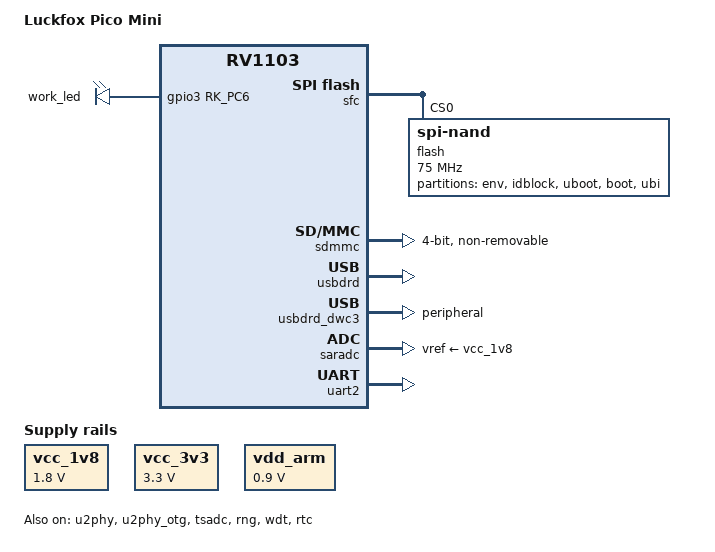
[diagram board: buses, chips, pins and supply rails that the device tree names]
// SPDX-License-Identifier: (GPL-2.0+ OR MIT)
/* Luckfox Pico Mini: RV1103, 64MB DDR3L, W25N01KVZEIR 128MB SPI NAND. */

/dts-v1/;

#include <dt-bindings/gpio/gpio.h>
#include <dt-bindings/pinctrl/rockchip.h>
#include "rv1103.dtsi"

/ {
	model = "Luckfox Pico Mini";
	compatible = "luckfox,pico-mini", "rockchip,rv1103";

	chosen { bootargs = "console=ttyS2,115200n8 rootwait"; };

	vcc_1v8: regulator-vcc-1v8 {
		compatible = "regulator-fixed";
		regulator-name = "vcc_1v8";
		regulator-min-microvolt = <1800000>;
		regulator-max-microvolt = <1800000>;
		regulator-always-on;
		regulator-boot-on;
	};

	vcc_3v3: regulator-vcc-3v3 {
		compatible = "regulator-fixed";
		regulator-name = "vcc_3v3";
		regulator-min-microvolt = <3300000>;
		regulator-max-microvolt = <3300000>;
		regulator-always-on;
		regulator-boot-on;
	};

	vdd_arm: regulator-vdd-arm {
		compatible = "regulator-fixed";
		regulator-name = "vdd_arm";
		regulator-min-microvolt = <900000>;
		regulator-max-microvolt = <900000>;
		regulator-always-on;
		regulator-boot-on;
	};

	leds {
		compatible = "gpio-leds";
		work_led: led-0 {
			gpios = <&gpio3 RK_PC6 GPIO_ACTIVE_HIGH>;
			linux,default-trigger = "heartbeat";
			default-state = "on";
			function = "activity";
		};
	};
};

&cpu0 { cpu-supply = <&vdd_arm>; #cooling-cells = <2>; };

/* Fixed VDD_ARM cannot participate in PVTPLL voltage calibration. */
&cpu0_opp_table {
	/delete-property/ rockchip,pvtpll-avg-offset;
	/delete-property/ rockchip,pvtpll-min-rate;
	/delete-property/ rockchip,pvtpll-volt-step;
};

&sfc {
	status = "okay";
	flash@0 {
		compatible = "spi-nand";
		reg = <0>;
		spi-max-frequency = <75000000>;
		spi-rx-bus-width = <4>;
		spi-tx-bus-width = <1>;

		partitions {
			compatible = "fixed-partitions";
			#address-cells = <1>;
			#size-cells = <1>;
			partition@0 { label = "env"; reg = <0x00000000 0x00040000>; };
			partition@40000 { label = "idblock"; reg = <0x00040000 0x00100000>; read-only; };
			partition@140000 { label = "uboot"; reg = <0x00140000 0x00100000>; read-only; };
			partition@240000 { label = "boot"; reg = <0x00240000 0x00800000>; };
			partition@a40000 { label = "ubi"; reg = <0x00a40000 0x075c0000>; };
		};
	};
};

&sdmmc {
	bus-width = <4>;
	cap-mmc-highspeed;
	cap-sd-highspeed;
	disable-wp;
	no-mmc;
	no-sdio;
	/*
	 * The slot has no card-detect wire: the vendor DTS keeps the det pad
	 * muxed but forces the controller to always assume a card. Left to the
	 * floating pad, the driver reports "no card" and the board never boots
	 * from the one storage the development path depends on.
	 */
	non-removable;
	max-frequency = <50000000>;
	pinctrl-names = "default";
	pinctrl-0 = <&sdmmc0_clk &sdmmc0_cmd &sdmmc0_det &sdmmc0_bus4>;
	status = "okay";
};

&u2phy { status = "okay"; };
&u2phy_otg { rockchip,dis-u2-susphy; status = "okay"; };
&usbdrd { status = "okay"; };
&usbdrd_dwc3 { dr_mode = "peripheral"; status = "okay"; };
&saradc { vref-supply = <&vcc_1v8>; status = "okay"; };
&tsadc { status = "okay"; };
&rng { status = "okay"; };
&uart2 { status = "okay"; };
&wdt { status = "okay"; };
&rtc { status = "okay"; };
